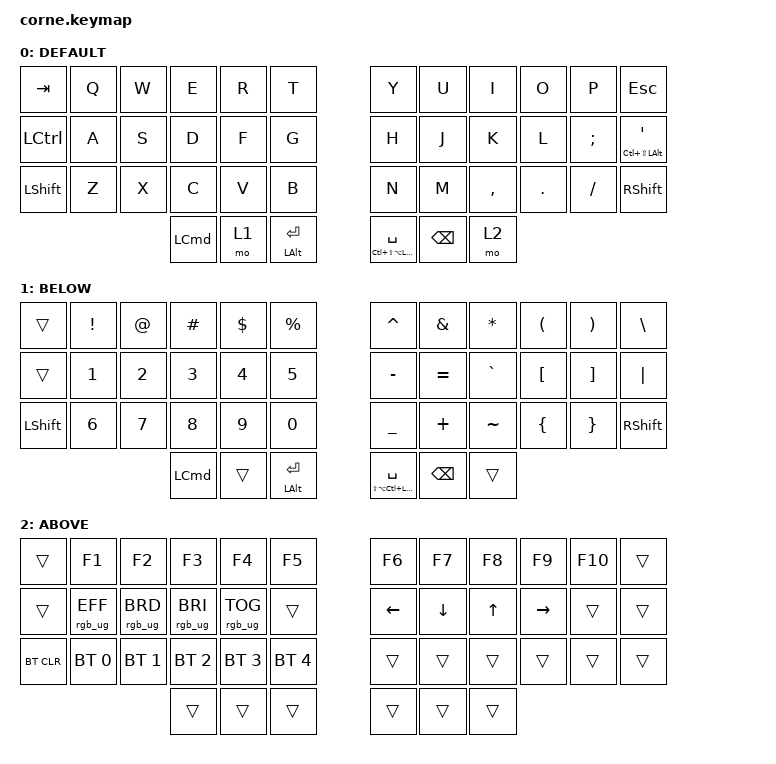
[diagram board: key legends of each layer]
/*
 * Copyright (c) 2020 The ZMK Contributors
 *
 * SPDX-License-Identifier: MIT
 */

#include <behaviors.dtsi>
#include <dt-bindings/led/led.h>
#include <dt-bindings/zmk/keys.h>
#include <dt-bindings/zmk/rgb.h>
#include <dt-bindings/zmk/bt.h>

//#include <dt-bindings/zmk/mouse.h> /* to be able to use keyboard mouse */
/*
 * Temporarily here because nice nano v2 spi is not defined on ZMk Yet
 * Source: https://github.com/zmkfirmware/zmk/blob/main/app/boards/shields/reviung41/boards/nice_nano.overlay
 * GitHub Issue: https://github.com/zmkfirmware/zmk/issues/885
 */

&spi1 {
    compatible = "nordic,nrf-spim";
    status = "okay";
    mosi-pin = <6>;

    // Unused pins, needed for SPI definition, but not used by the ws2812 driver itself.

    sck-pin = <5>;
    miso-pin = <7>;

    led_strip: ws2812@0 {
        compatible = "worldsemi,ws2812-spi";
        label = "WS2812";

        /* SPI */

        reg = <0>;/* ignored, but necessary for SPI bindings */
        spi-max-frequency = <4000000>;

        /* WS2812 */

        chain-length = <27>;/* arbitrary; change at will */
        spi-one-frame = <0x70>;
        spi-zero-frame = <0x40>;
        color-mapping = <LED_COLOR_ID_GREEN LED_COLOR_ID_RED LED_COLOR_ID_BLUE>;
    };
};

/ {
    chosen {
        zmk,underglow = &led_strip;
    };
};

/*
 * Above Temporarily here because nice nano v2 spi is not defined on ZMk Yet
 * Source: https://github.com/zmkfirmware/zmk/blob/main/app/boards/shields/reviung41/boards/nice_nano.overlay
 * GitHub Issue: https://github.com/zmkfirmware/zmk/issues/885
 */

/ {
    /*
 * tap dance test
 */

    behaviors {
        tp: tap_preferred {
            compatible = "zmk,behavior-hold-tap";
            label = "TAP_PREFERRED";
            bindings =
                <&kp>,
                <&kp>;

            #binding-cells = <2>;
            tapping-term-ms = <150>;
            quick-tap-ms = <0>;
            flavor = "tap-preferred";
        };
    };

    /*
 * mouse conf
 */
    //&mmv {    
    //        time-to-max-speed-ms = <500>;
    //        acceleration-exponent=<1>;
    //};
    //&mwh {    
    //        time-to-max-speed-ms = <2000>;
    //        acceleration-exponent=<0>;
    //};
    /*
 * 
 * to do : template
 *
 */
    /*
 * to do : alias layer 
 */

    #define BASE 0   
#define LOWER 1
#define RAISE 2
#define FUN 3
#define NAV 4
#define ADJUST 5

    /*to do : conditionnal layer
 * 
 *     conditional_layers {
 *         compatible = "zmk,conditional-layers";
 * 
 *         tri_layer {
 *             if-layers = <LOWER RAISE>;
 *             then-layer = <OPTION>;
 *         };
 *     };
 * 
 */
    /*
 * 
 * to do : macros
 *
 * macros {
 *         macro1: macro1 {
 *             compatible = "zmk,behavior-macro";
 *             label = "new_macro";
 *             #binding-cells = <0>;
 *             bindings = <&kp P &kp DOT &kp T &kp KP_MULTIPLY &kp NUMBER_0 &kp NUMBER_9 &kp NUMBER_8 &kp NUMBER_1 &kp NUMBER_6 &kp NUMBER_7 &kp NUMBER_9 &kp NUMBER_9 &kp NUMBER_0 &kp NUMBER_2 &kp PLUS &kp T &kp DOT &kp T &kp KP_MULTIPLY &kp PLUS &kp R &kp DOT &kp H>;
 *         };
 *     };
 *
 */
    /*
 * keymap
 */

    combos {
        compatible = "zmk,combos";
    };

    macros {
    };

    keymap {
        compatible = "zmk,keymap";

        DEFAULT {
            label = "DEFAULT";
            bindings = <
  &kp TAB  &kp Q  &kp W             &kp E  &kp R               &kp T  &kp Y          &kp U                               &kp I    &kp O     &kp P                   &kp ESC
&kp LCTRL  &kp A  &kp S             &kp D  &kp F               &kp G  &kp H          &kp J                               &kp K    &kp L  &kp SEMI  &tp LC(LS(LEFT_ALT)) SQT
&kp LSHFT  &kp Z  &kp X             &kp C  &kp V               &kp B  &kp N          &kp M                           &kp COMMA  &kp DOT  &kp FSLH                 &kp RSHFT
                         &kp LEFT_COMMAND  &mo 1  &tp LEFT_ALT ENTER  &tp LC(LS(LA(LEFT_COMMAND))) SPACE  &kp BACKSPACE      &mo 2
            >;
        };

        BELOW {
            bindings = <
   &trans  &kp EXCL  &kp AT          &kp HASH  &kp DLLR           &kp PRCNT                           &kp CARET       &kp AMPS   &kp STAR  &kp LPAR  &kp RPAR    &kp BSLH
   &trans    &kp N1  &kp N2            &kp N3    &kp N4              &kp N5                           &kp MINUS      &kp EQUAL  &kp GRAVE  &kp LBKT  &kp RBKT    &kp PIPE
&kp LSHFT    &kp N6  &kp N7            &kp N8    &kp N9              &kp N0                           &kp UNDER       &kp PLUS  &kp TILDE  &kp LBRC  &kp RBRC  &kp RSHIFT
                             &kp LEFT_COMMAND    &trans  &tp LEFT_ALT ENTER  &tp LS(LA(LC(LEFT_COMMAND))) SPACE  &kp BACKSPACE     &trans
            >;
        };

        ABOVE {
            bindings = <
    &trans           &kp F1           &kp F2           &kp F3           &kp F4        &kp F5    &kp F6    &kp F7  &kp F8     &kp F9  &kp F10  &trans
    &trans  &rgb_ug RGB_EFF  &rgb_ug RGB_BRD  &rgb_ug RGB_BRI  &rgb_ug RGB_TOG        &trans  &kp LEFT  &kp DOWN  &kp UP  &kp RIGHT   &trans  &trans
&bt BT_CLR     &bt BT_SEL 0     &bt BT_SEL 1     &bt BT_SEL 2     &bt BT_SEL 3  &bt BT_SEL 4    &trans    &trans  &trans     &trans   &trans  &trans
                                                       &trans           &trans        &trans    &trans    &trans  &trans
            >;
        };
    };
};
